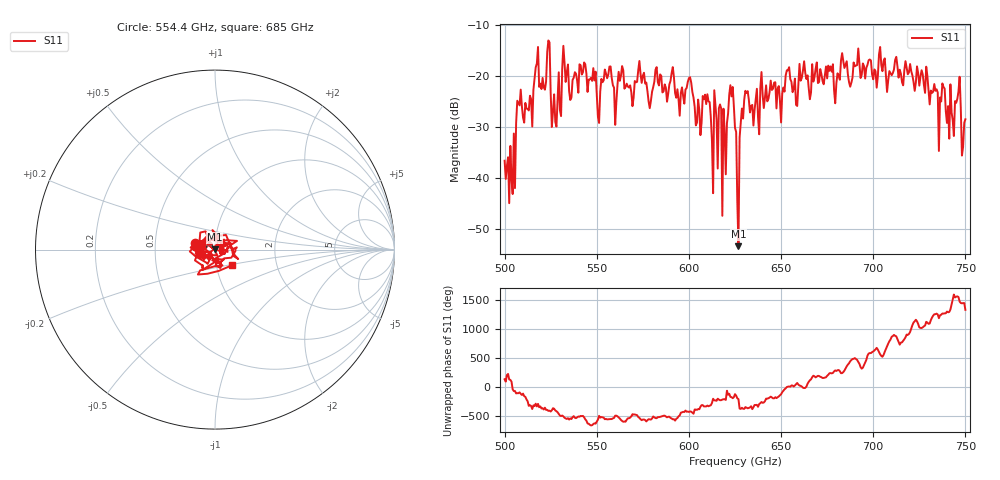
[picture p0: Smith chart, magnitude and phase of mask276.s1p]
!Created with skrf (http://scikit-rf.org).
# GHz S MA R 50.0
!freq magS11 angS11
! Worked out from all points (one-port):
!   401 points, 500 GHz to 750 GHz, reference 50 ohm
!   lowest |S11| = -53.3 dB at 626.9 GHz (marker M1), VSWR 1.00, Z = 49.8 + j0.115 ohm
!   |S11| at or under -10 dB: start of sweep to end of sweep
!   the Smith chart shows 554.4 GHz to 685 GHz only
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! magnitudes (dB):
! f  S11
! 500 GHz  -36.6
! 503.1 GHz  -33.7
! 507.5 GHz  -25.3
! 513.8 GHz  -23.8
! 516.9 GHz  -18.3
! 521.2 GHz  -22.2
! 523.8 GHz  -13.0
! 526.9 GHz  -23.6
! 531.2 GHz  -18.5
! 542.5 GHz  -19.2
! 551.2 GHz  -29.2
! 562.5 GHz  -20.9
! 590.6 GHz  -19.4
! 593.8 GHz  -22.6
! 610 GHz  -23.5
! 611.9 GHz  -28.0
! 615 GHz  -28.5
! 619.4 GHz  -30.7
! 623.1 GHz  -24.0
! 625 GHz  -30.1
! 626.9 GHz  -53.3
! 631.2 GHz  -23.3
! 656.2 GHz  -23.1
! 687.5 GHz  -22.1
! 718.8 GHz  -19.6
! 742.5 GHz  -27.1
! 745.6 GHz  -24.5
! 750 GHz  -28.4
